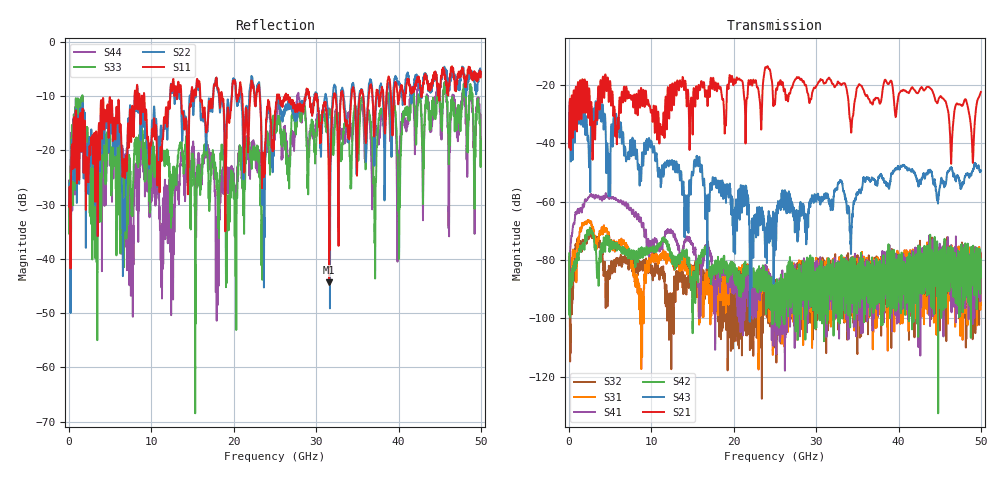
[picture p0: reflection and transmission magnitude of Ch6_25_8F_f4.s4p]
!Agilent Technologies,N5247A,US51170199,A.09.90.13
!Agilent N5247A: A.09.90.13
!Date: Wednesday, December 16, 2015 09:46:38
!Correction: S11(Full 4 Port(1,2,3,4))
!S12(Full 4 Port(1,2,3,4))
!S13(Full 4 Port(1,2,3,4))
!S14(Full 4 Port(1,2,3,4))
!S21(Full 4 Port(1,2,3,4))
!S22(Full 4 Port(1,2,3,4))
!S23(Full 4 Port(1,2,3,4))
!S24(Full 4 Port(1,2,3,4))
!S31(Full 4 Port(1,2,3,4))
!S32(Full 4 Port(1,2,3,4))
!S33(Full 4 Port(1,2,3,4))
!S34(Full 4 Port(1,2,3,4))
!S41(Full 4 Port(1,2,3,4))
!S42(Full 4 Port(1,2,3,4))
!S43(Full 4 Port(1,2,3,4))
!S44(Full 4 Port(1,2,3,4))
!S4P File: Measurements: <S11,S12,S13,S14>,
!<S21,S22,S23,S24>,
!<S31,S32,S33,S34>,
!<S41,S42,S43,S44>:
# Hz S  dB  R 50
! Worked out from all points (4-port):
!   3201 points, 10 MHz to 50 GHz, reference 50 ohm
!   strongest paths, dB at 10 MHz, 12.51 GHz, 25 GHz, 37.5 GHz, 50 GHz:
!     S21: -41.4, -21.5, -26.7, -24.6, -22.5
!     S43: -40.9, -46.2, -74.6, -52.7, -49.3
!     S42: -77.7, -81.2, -91.4, -88.7, -85.7
!     S41: -88.7, -70.8, -98.9, -84.3, -85.3
!     S31: -84.6, -80.2, -94.6, -88.4, -85.6
!     S32: -79.1, -92.9, -96.3, -85.9, -83.0
!   lowest |S11| = -44.3 dB at 31.58 GHz (marker M1), VSWR 1.01, Z = 49.4 + j0.0648 ohm
!   |S11| at or under -10 dB: start of sweep to 7.958 GHz; 9.143 GHz to 12.29 GHz (3.145 GHz wide, 29.4 % of centre); 26.6 GHz to 28.71 GHz (2.111 GHz wide, 7.63 % of centre)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
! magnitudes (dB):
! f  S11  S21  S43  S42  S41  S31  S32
! 10 MHz  -30.4  -41.4  -40.9  -77.7  -88.7  -84.6  -79.1
! 2.759 GHz  -18.8  -28.4  -33.3  -70.3  -57.8  -68.1  -72.0
! 22.15 GHz  -7.1  -19.2  -81.3  -86.9  -98.4  -87.5  -91.1
! 23.63 GHz  -23.4  -17.5  -69.5  -88.6  -83.0  -86.3  -95.4
! 31.58 GHz  -44.3  -17.6  -59.3  -91.6  -96.9  -93.4  -91.9
! 46.41 GHz  -5.1  -46.2  -48.9  -83.3  -84.4  -81.8  -97.5
! 50 GHz  -5.6  -22.5  -49.3  -85.7  -85.3  -85.6  -83.0
